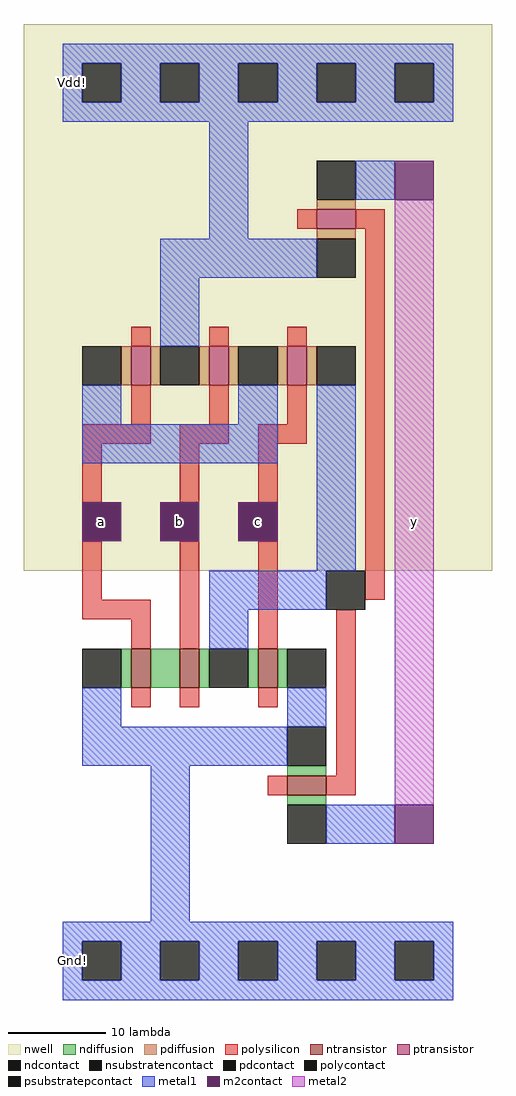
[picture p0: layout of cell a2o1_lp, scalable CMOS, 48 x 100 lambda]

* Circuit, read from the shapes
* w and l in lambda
.subckt a2o1_lp Gnd! Vdd! a b c y
M1 n1 a Gnd! Gnd! nfet w=4 l=2
M2 n2 b n1 Gnd! nfet w=4 l=2
M3 Gnd! c n2 Gnd! nfet w=4 l=2
M4 Gnd! n2 y Gnd! nfet w=4 l=2
M5 Vdd! a n3 Vdd! pfet w=4 l=2
M6 n3 b Vdd! Vdd! pfet w=4 l=2
M7 n2 c n3 Vdd! pfet w=4 l=2
M8 y n2 Vdd! Vdd! pfet w=4 l=2
.ends

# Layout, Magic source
magic
tech scmos
<< nwell >>
rect -6 40 42 96
<< ntransistor >>
rect 5 28 7 32
rect 10 28 12 32
rect 18 28 20 32
rect 21 17 25 19
<< ptransistor >>
rect 24 75 28 77
rect 5 59 7 63
rect 13 59 15 63
rect 21 59 23 63
<< ndiffusion >>
rect 4 28 5 32
rect 7 28 10 32
rect 12 28 13 32
rect 17 28 18 32
rect 20 28 21 32
rect 21 19 25 20
rect 21 16 25 17
<< pdiffusion >>
rect 24 77 28 78
rect 24 74 28 75
rect 4 59 5 63
rect 7 59 8 63
rect 12 59 13 63
rect 15 59 16 63
rect 20 59 21 63
rect 23 59 24 63
<< ndcontact >>
rect 0 28 4 32
rect 13 28 17 32
rect 21 28 25 32
rect 21 20 25 24
rect 21 12 25 16
<< pdcontact >>
rect 24 78 28 82
rect 24 70 28 74
rect 0 59 4 63
rect 8 59 12 63
rect 16 59 20 63
rect 24 59 28 63
<< psubstratepcontact >>
rect 0 -2 4 2
rect 8 -2 12 2
rect 16 -2 20 2
rect 24 -2 28 2
rect 32 -2 36 2
<< nsubstratencontact >>
rect 0 88 4 92
rect 8 88 12 92
rect 16 88 20 92
rect 24 88 28 92
rect 32 88 36 92
<< polysilicon >>
rect 22 75 24 77
rect 28 75 31 77
rect 5 63 7 65
rect 13 63 15 65
rect 21 63 23 65
rect 5 55 7 59
rect 13 55 15 59
rect 21 55 23 59
rect 0 53 7 55
rect 10 53 15 55
rect 18 53 23 55
rect 0 47 2 53
rect 10 47 12 53
rect 18 47 20 53
rect 0 37 2 43
rect 0 35 7 37
rect 5 32 7 35
rect 10 32 12 43
rect 18 32 20 43
rect 29 37 31 75
rect 5 26 7 28
rect 10 26 12 28
rect 18 26 20 28
rect 26 19 28 36
rect 19 17 21 19
rect 25 17 28 19
<< polycontact >>
rect 0 43 4 47
rect 8 43 12 47
rect 16 43 20 47
rect 25 36 29 40
<< metal1 >>
rect -2 92 38 94
rect -2 88 0 92
rect 4 88 8 92
rect 12 88 16 92
rect 20 88 24 92
rect 28 88 32 92
rect 36 88 38 92
rect -2 86 38 88
rect 13 74 17 86
rect 28 78 32 82
rect 8 70 24 74
rect 8 63 12 70
rect 0 55 4 59
rect 16 55 20 59
rect 0 51 20 55
rect 24 40 28 59
rect 13 36 25 40
rect 13 32 17 36
rect 0 24 4 28
rect 21 24 25 28
rect 0 20 21 24
rect 7 4 11 20
rect 25 12 32 16
rect -2 2 38 4
rect -2 -2 0 2
rect 4 -2 8 2
rect 12 -2 16 2
rect 20 -2 24 2
rect 28 -2 32 2
rect 36 -2 38 2
rect -2 -4 38 -2
<< m2contact >>
rect 32 78 36 82
rect 0 43 4 47
rect 8 43 12 47
rect 16 43 20 47
rect 32 12 36 16
<< metal2 >>
rect 32 16 36 78
<< labels >>
rlabel m2contact 2 45 2 45 1 a
rlabel m2contact 10 45 10 45 1 b
rlabel m2contact 18 45 18 45 1 c
rlabel metal2 34 45 34 45 1 y
rlabel metal1 -1 90 -1 90 3 Vdd!
rlabel metal1 -1 0 -1 0 3 Gnd!
<< end >>
